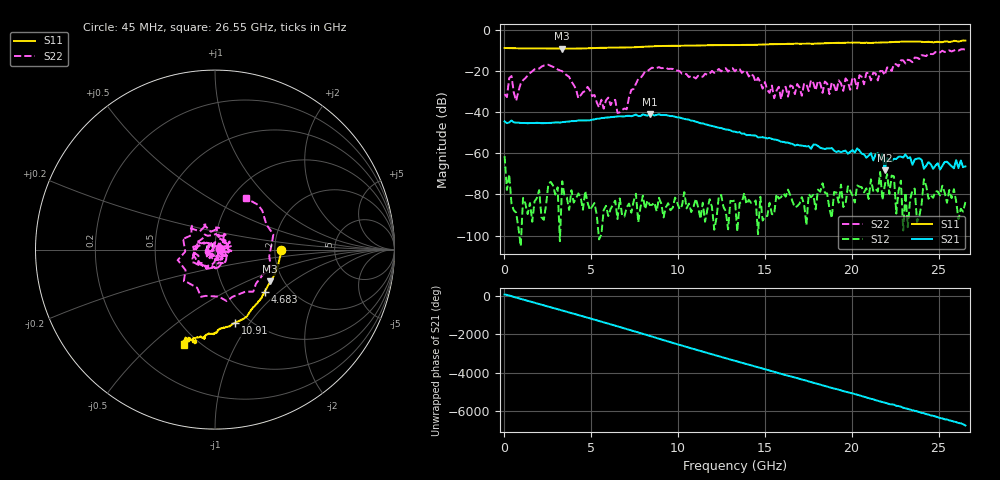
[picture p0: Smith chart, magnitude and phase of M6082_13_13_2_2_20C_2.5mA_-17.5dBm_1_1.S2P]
!  2-Port S-parameters saved by WinCal
! VAR MeasName=S-Parameters (CALIBRATED_DATA) read from VNA (C)
! VAR MeasDate=10/16/2015 10:52:13 AM
! VAR NAME=M6082_13_13_2_2_20C_2.5mA_-17.5dBm
! VAR FILENAME=M6082_13_13_2_2_20C_2.5mA_-17.5dBm_1_1.S2P
! VAR DATE=10/16/2015 10:52:13 AM
! VAR PHYS_PORTS=2,1
! VAR ObjTypeName=DATASET
! VAR IndexType=Frequency
# Hz S DB R 50
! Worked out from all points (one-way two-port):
!   201 points, 45 MHz to 26.55 GHz, reference 50 ohm
!   highest |S21| = -40.95 dB at 8.393 GHz (marker M1); lowest = -68.3 dB at 21.91 GHz (marker M2)
!   lowest |S11| = -9.0 dB at 3.357 GHz (marker M3), VSWR 2.10, Z = 85.6 - j34.8 ohm
!   |S11| at or under -10 dB: nowhere
!   |S22| runs from -40.3 to -9.2 dB; largest |S21 - S12| = 0.009
!   S11 on the Smith chart (normalised r, x): 45 MHz: 2.17, -0.01; 4.683 GHz: 1.50, -0.81; 10.91 GHz: 0.86, -0.85; 26.55 GHz: 0.42, -0.64
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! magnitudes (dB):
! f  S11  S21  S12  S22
! 45 MHz  -8.6  -44.4  -61.4  -31.2
! 177.5 MHz  -8.7  -45.3  -77.8  -32.5
! 310 MHz  -8.7  -44.9  -70.2  -23.3
! 442.5 MHz  -8.7  -44.0  -84.5  -22.3
! 707.5 MHz  -8.8  -45.0  -88.8  -34.4
! 1.768 GHz  -8.9  -45.2  -83.4  -19.0
! 3.357 GHz  -9.0  -44.7  -73.6  -19.9
! 4.55 GHz  -8.8  -43.9  -87.4  -30.2
! 4.683 GHz  -8.8  -43.9  -78.3  -29.6
! 6.67 GHz  -8.4  -41.9  -81.9  -40.0
! 8.393 GHz  -7.9  -41.0  -85.1  -19.1
! 8.922 GHz  -7.7  -41.0  -81.6  -18.0
! 10.91 GHz  -7.5  -44.1  -86.0  -22.8
! 13.29 GHz  -7.2  -49.4  -82.9  -20.0
! 15.95 GHz  -6.7  -54.3  -81.3  -33.6
! 17.8 GHz  -6.6  -55.7  -80.2  -25.7
! 21.91 GHz  -5.9  -68.3  -75.7  -21.9
! 22.04 GHz  -5.9  -62.2  -70.1  -18.1
! 22.17 GHz  -5.8  -63.0  -79.8  -18.2
! 22.3 GHz  -5.8  -63.9  -70.8  -19.8
! 22.57 GHz  -5.6  -62.7  -89.3  -16.6
! 26.55 GHz  -5.1  -66.3  -83.6  -9.5
